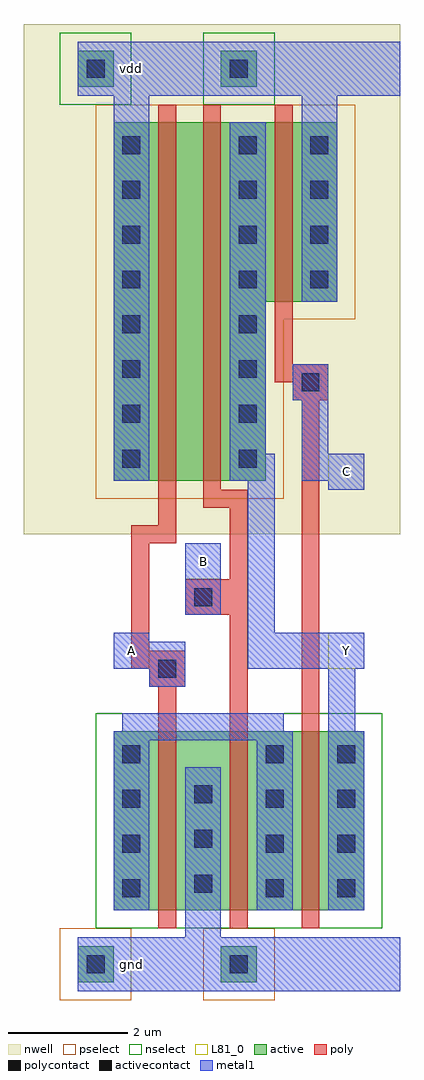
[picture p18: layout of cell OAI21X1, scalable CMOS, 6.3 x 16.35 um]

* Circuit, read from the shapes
.subckt OAI21X1 A B C Y gnd vdd
M1 gnd A n1 gnd nfet w=3u l=0.3u
M2 n1 B gnd gnd nfet w=3u l=0.3u
M3 Y C n1 gnd nfet w=3u l=0.3u
M4 n2 A vdd vdd pfet w=6u l=0.3u
M5 Y B n2 vdd pfet w=6u l=0.3u
M6 vdd C Y vdd pfet w=3u l=0.3u
.ends

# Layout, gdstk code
import gdstk
lib = gdstk.Library(unit=1e-6, precision=1e-09)
def R(c, l, rs):  # rectangles x0, y0, x1, y1
    for r in rs: c.add(gdstk.rectangle(r[:2], r[2:], *l))
def A(c, l, x, y, w, h, nx, ny, dx, dy):  # array of equal rectangles
    R(c, l, [(x+i*dx, y+j*dy, x+i*dx+w, y+j*dy+h) for i in range(nx) for j in range(ny)])
nwell = (42, 0)
active = (43, 0)
pselect = (44, 0)
nselect = (45, 0)
poly = (46, 0)
polycontact = (47, 0)
activecontact = (48, 0)
metal1 = (49, 0)
L81_0 = (81, 0)

oai21x1 = lib.new_cell('OAI21X1')
R(oai21x1, nwell, [(-1.2,7.2,5.1,15.75)])
R(oai21x1, active, [(-0.3,-0.3,0.3,0.3), (2.1,-0.3,2.7,0.3), (0.3,0.9,4.5,3.9), (0.3,8.1,2.85,11.1), (0.3,11.1,4.05,14.1), (-0.3,14.7,0.3,15.3), (2.1,14.7,2.7,15.3)])
R(oai21x1, pselect, [(-0.6,-0.6,0.6,0.6), (1.8,-0.6,3,0.6), (0,7.8,3.15,10.8), (0,10.8,4.35,14.4)])
R(oai21x1, nselect, [(0,0.6,4.8,4.2), (-0.6,14.4,0.6,15.6), (1.8,14.4,3,15.6)])
R(oai21x1, poly, [(1.05,0.6,1.35,4.65), (2.25,0.6,2.55,5.85), (3.45,0.6,3.75,9.45), (0.9,4.65,1.5,4.95), (0.6,4.95,1.5,5.25), (0.6,5.25,0.9,7.05), (1.5,5.85,2.55,6.45), (2.25,6.45,2.55,7.65), (0.6,7.05,1.35,7.35), (1.05,7.35,1.35,14.4), (1.8,7.65,2.55,7.95), (1.8,7.95,2.1,14.4), (3.3,9.45,3.9,9.75), (3,9.75,3.9,10.05), (3,10.05,3.3,14.4)])
R(oai21x1, polycontact, [(1.05,4.8,1.35,5.1), (1.65,6,1.95,6.3), (3.45,9.6,3.75,9.9)])
A(oai21x1, activecontact, 0.45, 1.12, 0.3, 0.3, 1, 4, 0, 0.75)
A(oai21x1, activecontact, 2.85, 1.12, 0.3, 0.3, 1, 4, 0, 0.75)
A(oai21x1, activecontact, 4.05, 1.12, 0.3, 0.3, 1, 4, 0, 0.75)
A(oai21x1, activecontact, 1.65, 1.2, 0.3, 0.3, 1, 3, 0, 0.75)
A(oai21x1, activecontact, 0.45, 8.32, 0.3, 0.3, 1, 8, 0, 0.75)
A(oai21x1, activecontact, 2.4, 8.32, 0.3, 0.3, 1, 8, 0, 0.75)
A(oai21x1, activecontact, 3.6, 11.32, 0.3, 0.3, 1, 4, 0, 0.75)
R(oai21x1, activecontact, [(-0.15,-0.15,0.15,0.15), (2.25,-0.15,2.55,0.15), (-0.15,14.85,0.15,15.15), (2.25,14.85,2.55,15.15)])
R(oai21x1, metal1, [(-0.3,-0.45,5.1,0.45), (1.5,0.45,2.1,3.3), (0.3,0.9,0.9,3.75), (2.7,0.9,3.3,3.75), (3.9,0.9,4.5,3.9), (0.3,3.75,3.3,3.9), (0.45,3.9,3.15,4.2), (3.9,3.9,4.35,4.95), (0.9,4.65,1.5,4.95), (0.3,4.95,1.5,5.4), (2.55,4.95,4.5,5.55), (0.3,5.4,0.9,5.55), (2.55,5.55,3,8.1), (1.5,5.85,2.1,7.05), (3.9,7.95,4.5,8.1), (0.3,8.1,0.9,14.55), (2.25,8.1,3,8.55), (3.45,8.1,4.5,8.55), (2.25,8.55,2.85,14.1), (3.45,8.55,3.9,9.45), (3.3,9.45,3.9,10.05), (3.45,11.1,4.05,14.55), (-0.3,14.55,5.1,15.45)])
R(oai21x1, L81_0, [(0.3,4.95,0.9,5.55), (3.9,4.95,4.5,5.55), (1.5,6.45,2.1,7.05), (3.9,7.95,4.5,8.55)])
oai21x1.add(gdstk.Label('gnd', (0.6,0), layer=109, texttype=0))
oai21x1.add(gdstk.Label('vdd', (0.6,15), layer=109, texttype=0))
oai21x1.add(gdstk.Label('A', (0.6,5.25), layer=109, texttype=0))
oai21x1.add(gdstk.Label('B', (1.8,6.75), layer=109, texttype=0))
oai21x1.add(gdstk.Label('Y', (4.2,5.25), layer=109, texttype=0))
oai21x1.add(gdstk.Label('C', (4.2,8.25), layer=109, texttype=0))

lib.write_gds('OAI21X1.gds')
